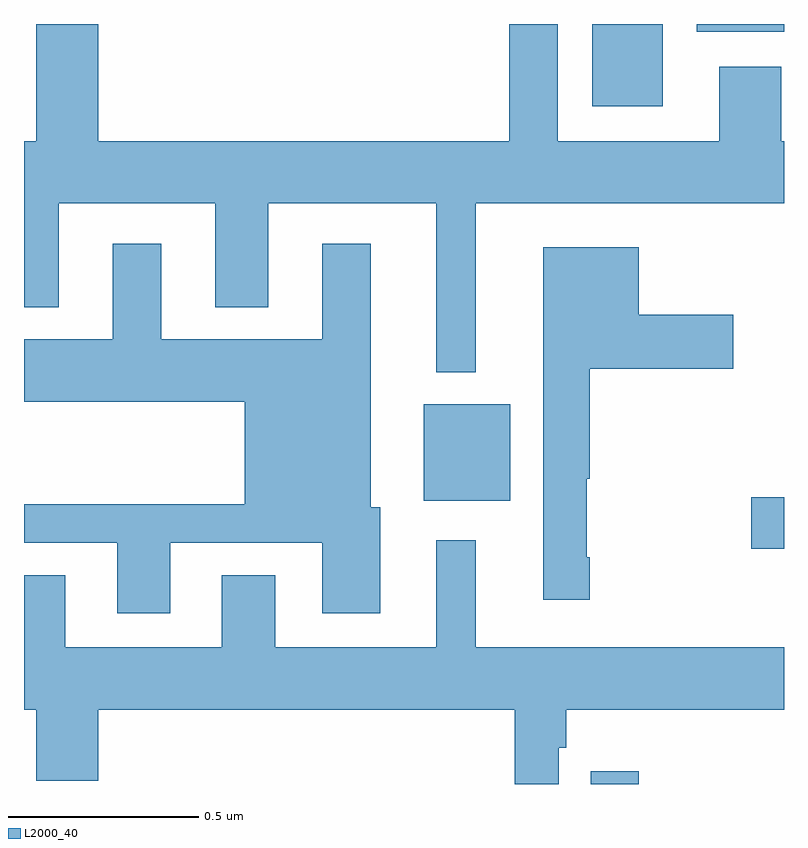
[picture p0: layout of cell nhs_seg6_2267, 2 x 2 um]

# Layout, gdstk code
import gdstk
lib = gdstk.Library(unit=1e-6, precision=1e-09)
def R(c, l, rs):  # rectangles x0, y0, x1, y1
    for r in rs: c.add(gdstk.rectangle(r[:2], r[2:], *l))
def P(c, l, *ps):  # polygons
    for p in ps: c.add(gdstk.Polygon(p, *l))
L2000_40 = (2000, 40)

nhs_seg6_2267 = lib.new_cell('nhs_seg6_2267')
R(nhs_seg6_2267, L2000_40, [(142.492,920.5,142.618,920.533), (142.914,921.119,143,921.254), (142.052,921.245,142.279,921.499), (142.496,922.283,142.681,922.5), (142.77,922.479,143,922.5)])
P(nhs_seg6_2267, L2000_40, [(142.189,922.028),(143,922.028),(143,922.192),(142.993,922.192),(142.993,922.387),(142.829,922.387),(142.829,922.192),(142.405,922.192),(142.405,922.5),(142.277,922.5),(142.277,922.192),(141.196,922.192),(141.196,922.5),(141.032,922.5),(141.032,922.192),(141,922.192),(141,921.755),(141.091,921.755),(141.091,922.028),(141.503,922.028),(141.503,921.755),(141.643,921.755),(141.643,922.028),(142.085,922.028),(142.085,921.584),(142.189,921.584)],
  [(141.385,921.135),(141.785,921.135),(141.785,920.949),(141.937,920.949),(141.937,921.228),(141.913,921.228),(141.913,921.922),(141.785,921.922),(141.785,921.67),(141.361,921.67),(141.361,921.922),(141.233,921.922),(141.233,921.67),(141,921.67),(141,921.506),(141.581,921.506),(141.581,921.236),(141,921.236),(141,921.135),(141.245,921.135),(141.245,920.949),(141.385,920.949)],
  [(142.489,921.097),(142.481,921.097),(142.481,921.303),(142.489,921.303),(142.489,921.593),(142.867,921.593),(142.867,921.735),(142.618,921.735),(142.618,921.913),(142.367,921.913),(142.367,920.985),(142.489,920.985)],
  [(142.407,920.595),(142.427,920.595),(142.427,920.696),(143,920.696),(143,920.86),(142.189,920.86),(142.189,921.142),(142.085,921.142),(142.085,920.86),(141.661,920.86),(141.661,921.05),(141.521,921.05),(141.521,920.86),(141.109,920.86),(141.109,921.05),(141,921.05),(141,920.696),(141.032,920.696),(141.032,920.508),(141.196,920.508),(141.196,920.696),(142.291,920.696),(142.291,920.5),(142.407,920.5)])

lib.write_gds('nhs_seg6_2267.gds')
